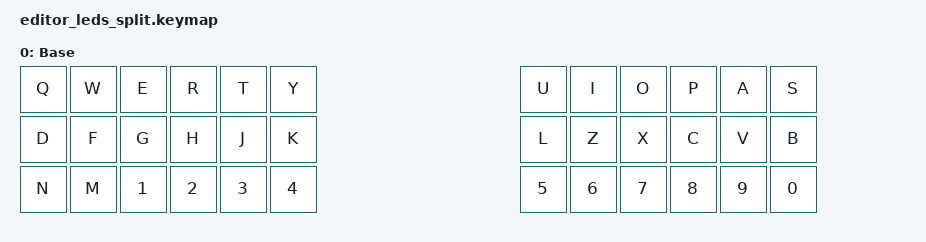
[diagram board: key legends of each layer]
#include <behaviors.dtsi>
#include <dt-bindings/zmk/keys.h>

/ {
    keymap {
        compatible = "zmk,keymap";

        default_layer {
            display-name = "Base";
            // | Q | W | E | R | T | Y | U | I | O | P | A | S |
            // | D | F | G | H | J | K | L | Z | X | C | V | B |
            // | N | M | 1 | 2 | 3 | 4 | 5 | 6 | 7 | 8 | 9 | 0 |
            bindings = <
                &kp Q  &kp W  &kp E   &kp R   &kp T   &kp Y   &kp U   &kp I   &kp O   &kp P   &kp A   &kp S
                &kp D  &kp F  &kp G   &kp H   &kp J   &kp K   &kp L   &kp Z   &kp X   &kp C   &kp V   &kp B
                &kp N  &kp M  &kp N1  &kp N2  &kp N3  &kp N4  &kp N5  &kp N6  &kp N7  &kp N8  &kp N9  &kp N0
            >;
        };
    };
};
